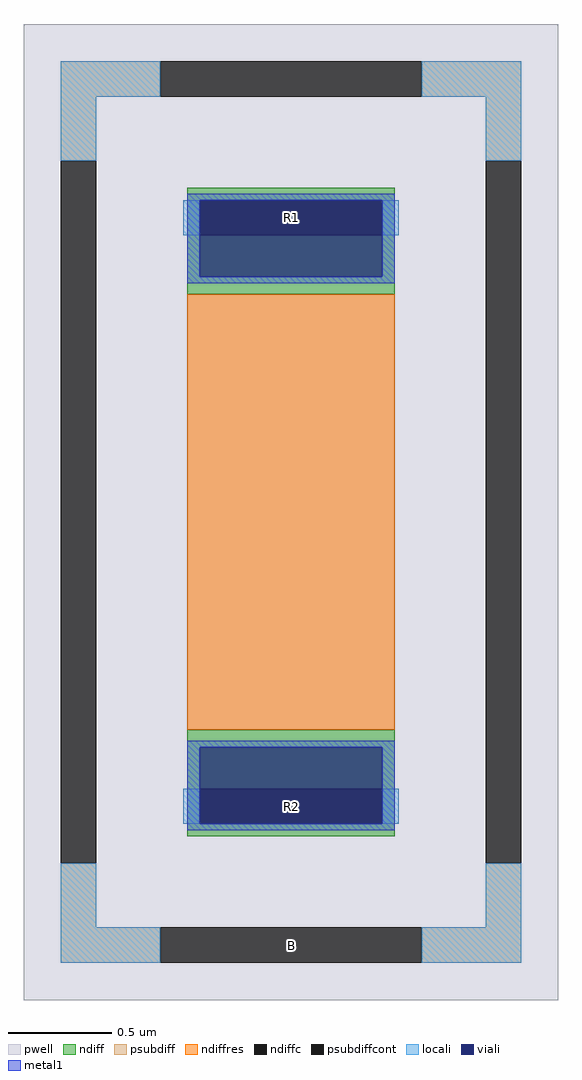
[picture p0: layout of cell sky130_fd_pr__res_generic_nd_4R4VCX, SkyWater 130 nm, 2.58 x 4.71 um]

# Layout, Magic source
magic
tech sky130A
magscale 1 2
<< pwell >>
rect -258 -471 258 471
<< ndiff >>
rect -100 301 100 313
rect -100 267 -88 301
rect 88 267 100 301
rect -100 210 100 267
rect -100 -267 100 -210
rect -100 -301 -88 -267
rect 88 -301 100 -267
rect -100 -313 100 -301
<< ndiffc >>
rect -88 267 88 301
rect -88 -301 88 -267
<< psubdiff >>
rect -222 401 -126 435
rect 126 401 222 435
rect -222 339 -188 401
rect 188 339 222 401
rect -222 -401 -188 -339
rect 188 -401 222 -339
rect -222 -435 -126 -401
rect 126 -435 222 -401
<< psubdiffcont >>
rect -126 401 126 435
rect -222 -339 -188 339
rect 188 -339 222 339
rect -126 -435 126 -401
<< ndiffres >>
rect -100 -210 100 210
<< locali >>
rect -222 401 -126 435
rect 126 401 222 435
rect -222 339 -188 401
rect 188 339 222 401
rect -104 267 -88 301
rect 88 267 104 301
rect -104 -301 -88 -267
rect 88 -301 104 -267
rect -222 -401 -188 -339
rect 188 -401 222 -339
rect -222 -435 -126 -401
rect 126 -435 222 -401
<< viali >>
rect -88 267 88 301
rect -88 227 88 267
rect -88 -267 88 -227
rect -88 -301 88 -267
<< metal1 >>
rect -100 301 100 307
rect -100 227 -88 301
rect 88 227 100 301
rect -100 221 100 227
rect -100 -227 100 -221
rect -100 -301 -88 -227
rect 88 -301 100 -227
rect -100 -307 100 -301
<< labels >>
rlabel psubdiffcont 0 -418 0 -418 0 B
port 1 nsew
rlabel ndiffc 0 284 0 284 0 R1
port 2 nsew
rlabel ndiffc 0 -284 0 -284 0 R2
port 3 nsew
<< properties >>
string FIXED_BBOX -205 -418 205 418
string gencell sky130_fd_pr__res_generic_nd
string library sky130
string parameters w 1.0 l 2.10 m 1 nx 1 wmin 0.42 lmin 2.10 class resistor rho 120 val 121.028 dummy 0 dw 0.0085 term 0.0 sterm 0.0 caplen 0.4 snake 0 guard 1 glc 1 grc 1 gtc 1 gbc 1 roverlap 0 endcov 100 full_metal 1 vias 1 doports 1 viagb 0 viagt 0 viagl 0 viagr 0 mult 1
<< end >>
